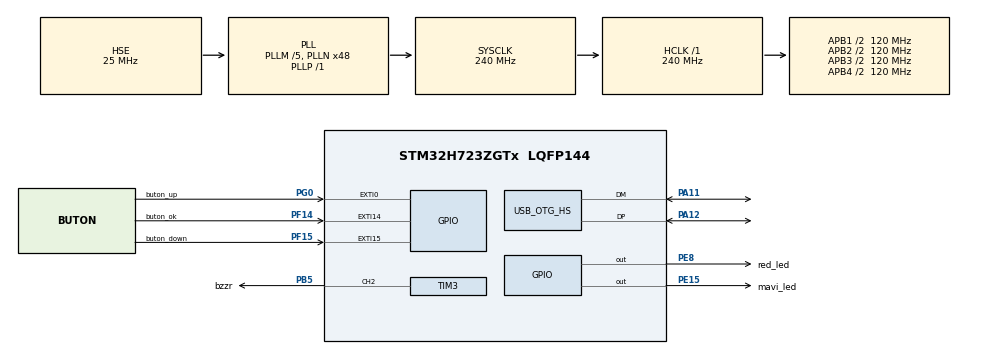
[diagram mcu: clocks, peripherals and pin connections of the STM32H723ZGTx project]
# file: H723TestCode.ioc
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CORTEX_M7.default_mode_Activation=1
Mcu.Family=STM32H7
Mcu.Name=STM32H723ZGTx
Mcu.Package=LQFP144
NVIC.EXTI0_IRQn=true\:0\:0\:false\:false\:true\:true\:true\:true
NVIC.EXTI15_10_IRQn=true\:0\:0\:false\:false\:true\:true\:true\:true
NVIC.OTG_HS_IRQn=true\:0\:0\:false\:false\:true\:false\:true\:true
NVIC.PriorityGroup=NVIC_PRIORITYGROUP_4
PA11.Mode=Device_Only_FS
PA11.Signal=USB_OTG_HS_DM
PA12.Mode=Device_Only_FS
PA12.Signal=USB_OTG_HS_DP
PB5.GPIO_Label=bzzr
PB5.Signal=S_TIM3_CH2
PE15.GPIO_Label=mavi_led
PE15.Signal=GPIO_Output
PE8.GPIO_Label=red_led
PE8.Signal=GPIO_Output
PF14.GPIO_Label=buton_ok
PF14.GPIO_ModeDefaultEXTI=GPIO_MODE_IT_FALLING
PF14.Signal=GPXTI14
PF15.GPIO_Label=buton_down
PF15.GPIO_ModeDefaultEXTI=GPIO_MODE_IT_FALLING
PF15.Signal=GPXTI15
PG0.GPIO_Label=buton_up
PG0.GPIO_ModeDefaultEXTI=GPIO_MODE_IT_FALLING
PG0.Signal=GPXTI0
PH0-OSC_IN.Mode=HSE-External-Oscillator
PH0-OSC_IN.Signal=RCC_OSC_IN
PH1-OSC_OUT.Mode=HSE-External-Oscillator
PH1-OSC_OUT.Signal=RCC_OSC_OUT
ProjectManager.HeapSize=0x200
ProjectManager.StackSize=0x400
ProjectManager.TargetToolchain=STM32CubeIDE
RCC.ADCFreq_Value=50390625
RCC.APB1Freq_Value=120000000
RCC.APB2Freq_Value=120000000
RCC.APB3Freq_Value=120000000
RCC.APB4Freq_Value=120000000
RCC.CortexFreq_Value=240000000
RCC.D1PPRE=RCC_APB3_DIV2
RCC.D2PPRE1=RCC_APB1_DIV2
RCC.D2PPRE2=RCC_APB2_DIV2
RCC.D3PPRE=RCC_APB4_DIV2
RCC.DIVM1=5
RCC.DIVN1=48
RCC.DIVP1=1
RCC.DIVQ1=5
RCC.EnbaleCSS=true
RCC.HCLKFreq_Value=240000000
RCC.PLL2FRACN=0
RCC.PLL3FRACN=0
RCC.PLLFRACN=0
RCC.SYSCLKFreq_VALUE=240000000
RCC.SYSCLKSource=RCC_SYSCLKSOURCE_PLLCLK
RCC.USBFreq_Value=48000000
SH.S_TIM3_CH2.0=TIM3_CH2,PWM Generation2 CH2
TIM3.Channel-PWM\ Generation2\ CH2=TIM_CHANNEL_2
TIM3.Period=249
TIM3.Prescaler=239
TIM3.Pulse-PWM\ Generation2\ CH2=125
USB_DEVICE.CLASS_NAME_HS=CDC
USB_DEVICE.VirtualMode=Cdc
USB_DEVICE.VirtualModeHS=Cdc_HS
USB_OTG_HS.VirtualMode-Device_Only_FS=Device_Only_FS
VP_MEMORYMAP_VS_MEMORYMAP.Mode=CurAppReg
VP_USB_DEVICE_VS_USB_DEVICE_CDC_HS.Mode=CDC_HS
board=custom

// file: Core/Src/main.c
/* USER CODE BEGIN Header */
/**
 ******************************************************************************
 * @file           : main.c
 * @brief          : Main program body
 ******************************************************************************
 * @attention
 *
 * Copyright (c) 2025 STMicroelectronics.
 * All rights reserved.
 *
 * This software is licensed under terms that can be found in the LICENSE file
 * in the root directory of this software component.
 * If no LICENSE file comes with this software, it is provided AS-IS.
 *
 ******************************************************************************
 */
/* USER CODE END Header */
#include "main.h"
#include "usb_device.h"

/* USER CODE BEGIN Includes */
#include "usbd_cdc_if.h"
#include <stdio.h>
/* USER CODE END Includes */

/* USER CODE BEGIN PTD */
int _write(int file, char *ptr, int len) {
	uint8_t ret;
	uint32_t timeout = 100;  // 100 ms kadar beklesin

	while ((ret = CDC_Transmit_HS((uint8_t*) ptr, len)) == USBD_BUSY
			&& timeout--) {
		HAL_Delay(1);
	}

	if (ret != USBD_OK) {
		// İsteğe bağlı: hata durumunda log veya LED yanması vs.
	}

	return len;
}
/* USER CODE END PTD */

/* USER CODE BEGIN PD */
#define LED_RED red_led_GPIO_Port, red_led_Pin
#define LED_MAVi mavi_led_GPIO_Port, mavi_led_Pin
/* USER CODE END PD */

/* USER CODE BEGIN PM */
volatile uint8_t button_pressed_flag = 0;
/* USER CODE END PM */

TIM_HandleTypeDef htim3;

void SystemClock_Config(void);
static void MPU_Config(void);
static void MX_GPIO_Init(void);
static void MX_TIM3_Init(void);

/* USER CODE BEGIN 0 */
void bip_baslat();
void bip_durdur();
void pwm_bip(uint32_t sure_ms);
/* USER CODE END 0 */

int main(void) {

	/* MPU Configuration--------------------------------------------------------*/
	MPU_Config();

	/* MCU Configuration--------------------------------------------------------*/

	/* Reset of all peripherals, Initializes the Flash interface and the Systick. */
	HAL_Init();

	/* Configure the system clock */
	SystemClock_Config();

	/* Initialize all configured peripherals */
	MX_GPIO_Init();
	MX_USB_DEVICE_Init();
	MX_TIM3_Init();

	/* Infinite loop */
	/* USER CODE BEGIN WHILE */

	pwm_bip(500);

	HAL_Delay(2000);
	printf("merhaba Fixaj.com \n\r");
	while (1) {

		if (button_pressed_flag == 1) {
			// Clear the flag immediately to avoid multiple beeps
			button_pressed_flag = 0;

			// Now, safely perform the long-running task
			pwm_bip(100);
		}
		/* USER CODE END WHILE */

	}
}

void SystemClock_Config(void) {
	RCC_OscInitTypeDef RCC_OscInitStruct = { 0 };
	RCC_ClkInitTypeDef RCC_ClkInitStruct = { 0 };

	/** Supply configuration update enable
	 */
	HAL_PWREx_ConfigSupply(PWR_LDO_SUPPLY);

	/** Configure the main internal regulator output voltage
	 */
	__HAL_PWR_VOLTAGESCALING_CONFIG(PWR_REGULATOR_VOLTAGE_SCALE0);

	while (!__HAL_PWR_GET_FLAG(PWR_FLAG_VOSRDY)) {
	}

	/** Initializes the RCC Oscillators according to the specified parameters
	 * in the RCC_OscInitTypeDef structure.
	 */
	RCC_OscInitStruct.OscillatorType = RCC_OSCILLATORTYPE_HSE;
	RCC_OscInitStruct.HSEState = RCC_HSE_ON;
	RCC_OscInitStruct.PLL.PLLState = RCC_PLL_ON;
	RCC_OscInitStruct.PLL.PLLSource = RCC_PLLSOURCE_HSE;
	RCC_OscInitStruct.PLL.PLLM = 5;
	RCC_OscInitStruct.PLL.PLLN = 48;
	RCC_OscInitStruct.PLL.PLLP = 1;
	RCC_OscInitStruct.PLL.PLLQ = 5;
	RCC_OscInitStruct.PLL.PLLR = 2;
	RCC_OscInitStruct.PLL.PLLRGE = RCC_PLL1VCIRANGE_2;
	RCC_OscInitStruct.PLL.PLLVCOSEL = RCC_PLL1VCOWIDE;
	RCC_OscInitStruct.PLL.PLLFRACN = 0;
	if (HAL_RCC_OscConfig(&RCC_OscInitStruct) != HAL_OK) {
		Error_Handler();
	}

	/** Initializes the CPU, AHB and APB buses clocks
	 */
	RCC_ClkInitStruct.ClockType = RCC_CLOCKTYPE_HCLK | RCC_CLOCKTYPE_SYSCLK
			| RCC_CLOCKTYPE_PCLK1 | RCC_CLOCKTYPE_PCLK2 | RCC_CLOCKTYPE_D3PCLK1
			| RCC_CLOCKTYPE_D1PCLK1;
	RCC_ClkInitStruct.SYSCLKSource = RCC_SYSCLKSOURCE_PLLCLK;
	RCC_ClkInitStruct.SYSCLKDivider = RCC_SYSCLK_DIV1;
	RCC_ClkInitStruct.AHBCLKDivider = RCC_HCLK_DIV1;
	RCC_ClkInitStruct.APB3CLKDivider = RCC_APB3_DIV2;
	RCC_ClkInitStruct.APB1CLKDivider = RCC_APB1_DIV2;
	RCC_ClkInitStruct.APB2CLKDivider = RCC_APB2_DIV2;
	RCC_ClkInitStruct.APB4CLKDivider = RCC_APB4_DIV2;

	if (HAL_RCC_ClockConfig(&RCC_ClkInitStruct, FLASH_LATENCY_3) != HAL_OK) {
		Error_Handler();
	}

	/** Enables the Clock Security System
	 */
	HAL_RCC_EnableCSS();
}

static void MX_TIM3_Init(void) {

	TIM_MasterConfigTypeDef sMasterConfig = { 0 };
	TIM_OC_InitTypeDef sConfigOC = { 0 };

	htim3.Instance = TIM3;
	htim3.Init.Prescaler = 239;
	htim3.Init.CounterMode = TIM_COUNTERMODE_UP;
	htim3.Init.Period = 249;
	htim3.Init.ClockDivision = TIM_CLOCKDIVISION_DIV1;
	htim3.Init.AutoReloadPreload = TIM_AUTORELOAD_PRELOAD_DISABLE;
	if (HAL_TIM_PWM_Init(&htim3) != HAL_OK) {
		Error_Handler();
	}
	sMasterConfig.MasterOutputTrigger = TIM_TRGO_RESET;
	sMasterConfig.MasterSlaveMode = TIM_MASTERSLAVEMODE_DISABLE;
	if (HAL_TIMEx_MasterConfigSynchronization(&htim3, &sMasterConfig)
			!= HAL_OK) {
		Error_Handler();
	}
	sConfigOC.OCMode = TIM_OCMODE_PWM1;
	sConfigOC.Pulse = 125;
	sConfigOC.OCPolarity = TIM_OCPOLARITY_HIGH;
	sConfigOC.OCFastMode = TIM_OCFAST_DISABLE;
	if (HAL_TIM_PWM_ConfigChannel(&htim3, &sConfigOC, TIM_CHANNEL_2)
			!= HAL_OK) {
		Error_Handler();
	}
	HAL_TIM_MspPostInit(&htim3);

}

static void MX_GPIO_Init(void) {
	GPIO_InitTypeDef GPIO_InitStruct = { 0 };

	/* GPIO Ports Clock Enable */
	__HAL_RCC_GPIOH_CLK_ENABLE();
	__HAL_RCC_GPIOF_CLK_ENABLE();
	__HAL_RCC_GPIOG_CLK_ENABLE();
	__HAL_RCC_GPIOE_CLK_ENABLE();
	__HAL_RCC_GPIOA_CLK_ENABLE();
	__HAL_RCC_GPIOB_CLK_ENABLE();

	/*Configure GPIO pin Output Level */
	HAL_GPIO_WritePin(GPIOE, red_led_Pin | mavi_led_Pin, GPIO_PIN_RESET);

	/*Configure GPIO pins : buton_ok_Pin buton_down_Pin */
	GPIO_InitStruct.Pin = buton_ok_Pin | buton_down_Pin;
	GPIO_InitStruct.Mode = GPIO_MODE_IT_FALLING;
	GPIO_InitStruct.Pull = GPIO_NOPULL;
	HAL_GPIO_Init(GPIOF, &GPIO_InitStruct);

	/*Configure GPIO pin : buton_up_Pin */
	GPIO_InitStruct.Pin = buton_up_Pin;
	GPIO_InitStruct.Mode = GPIO_MODE_IT_FALLING;
	GPIO_InitStruct.Pull = GPIO_NOPULL;
	HAL_GPIO_Init(buton_up_GPIO_Port, &GPIO_InitStruct);

	/*Configure GPIO pins : red_led_Pin mavi_led_Pin */
	GPIO_InitStruct.Pin = red_led_Pin | mavi_led_Pin;
	GPIO_InitStruct.Mode = GPIO_MODE_OUTPUT_PP;
	GPIO_InitStruct.Pull = GPIO_NOPULL;
	GPIO_InitStruct.Speed = GPIO_SPEED_FREQ_LOW;
	HAL_GPIO_Init(GPIOE, &GPIO_InitStruct);

	/* EXTI interrupt init*/
	HAL_NVIC_SetPriority(buton_up_EXTI_IRQn, 0, 0);
	HAL_NVIC_EnableIRQ(buton_up_EXTI_IRQn);

	HAL_NVIC_SetPriority(buton_ok_EXTI_IRQn, 0, 0);
	HAL_NVIC_EnableIRQ(buton_ok_EXTI_IRQn);

}

/* USER CODE BEGIN 4 */
void HAL_GPIO_EXTI_Callback(uint16_t GPIO_Pin) {
	// Debounce için kısa bir gecikme
	/*
	 if (GPIO_Pin == buton_ok_Pin) {
	 HAL_GPIO_TogglePin(LED_RED);
	 }
	 */
	button_pressed_flag = 1;

	switch (GPIO_Pin) {
	case buton_ok_Pin:
		// Buton OK'ye basıldığında yapılacak işlemler
		HAL_GPIO_TogglePin(LED_RED);
		HAL_GPIO_TogglePin(LED_MAVi);
		break;

	case buton_up_Pin:
		// Buton UP'a basıldığında yapılacak işlemler
		// Örnek: başka bir LED'i yakıp söndür
		HAL_GPIO_TogglePin(LED_MAVi);
		break;

	case buton_down_Pin:
		// Buton DOWN'a basıldığında yapılacak işlemler
		// Örnek: başka bir LED'i yakıp söndür
		HAL_GPIO_TogglePin(LED_RED);
		break;
	}
}

void bip_baslat() {
	// TIM3'ün 1. kanalında (örnek) PWM sinyalini başlat
	HAL_TIM_PWM_Start(&htim3, TIM_CHANNEL_2);
}

/**
 * @brief PWM sinyalini durdurarak pasif buzzer'ı susturur.
 * @retval None
 */
void bip_durdur() {
	// TIM3'ün 1. kanalında (örnek) PWM sinyalini durdur
	HAL_TIM_PWM_Stop(&htim3, TIM_CHANNEL_2);
}

/**
 * @brief Belirtilen süre boyunca PWM ile bip sesi çalar.
 * @param sure_ms Sesin ne kadar süre devam edeceği (milisaniye cinsinden).
 * @retval None
 */
void pwm_bip(uint32_t sure_ms) {
	bip_baslat();
	HAL_Delay(sure_ms);
	bip_durdur();
}

/* USER CODE END 4 */

/* MPU Configuration */

void MPU_Config(void) {
	MPU_Region_InitTypeDef MPU_InitStruct = { 0 };

	/* Disables the MPU */
	HAL_MPU_Disable();

	/** Initializes and configures the Region and the memory to be protected
	 */
	MPU_InitStruct.Enable = MPU_REGION_ENABLE;
	MPU_InitStruct.Number = MPU_REGION_NUMBER0;
	MPU_InitStruct.BaseAddress = 0x0;
	MPU_InitStruct.Size = MPU_REGION_SIZE_4GB;
	MPU_InitStruct.SubRegionDisable = 0x87;
	MPU_InitStruct.TypeExtField = MPU_TEX_LEVEL0;
	MPU_InitStruct.AccessPermission = MPU_REGION_NO_ACCESS;
	MPU_InitStruct.DisableExec = MPU_INSTRUCTION_ACCESS_DISABLE;
	MPU_InitStruct.IsShareable = MPU_ACCESS_SHAREABLE;
	MPU_InitStruct.IsCacheable = MPU_ACCESS_NOT_CACHEABLE;
	MPU_InitStruct.IsBufferable = MPU_ACCESS_NOT_BUFFERABLE;

	HAL_MPU_ConfigRegion(&MPU_InitStruct);
	/* Enables the MPU */
	HAL_MPU_Enable(MPU_PRIVILEGED_DEFAULT);

}

void Error_Handler(void) {
	__disable_irq();
	while (1) {
	}
}
